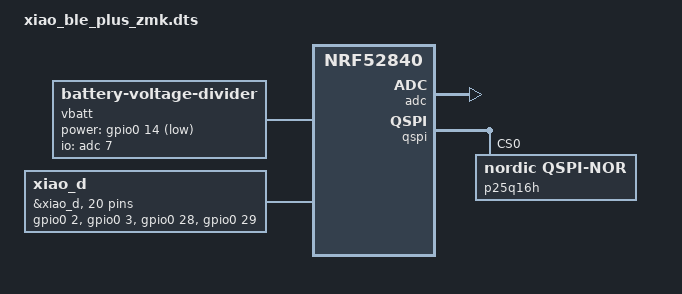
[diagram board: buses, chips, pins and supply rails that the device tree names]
/*
 * Copyright (c) 2026 OpenAI
 *
 * SPDX-License-Identifier: MIT
 */

#include <../boards/seeed/xiao_ble/xiao_ble.dts>
#include <common/nordic/nrf52840_uf2_boot_mode.dtsi>

/* Add an sd_partition label for compatibility with the nosd snippet */
sd_partition: &reserved_partition_0 { };

/ {
    chosen {
        zmk,battery = &vbatt;
    };

    vbatt: vbatt {
        compatible = "zmk,battery-voltage-divider";
        io-channels = <&adc 7>;
        power-gpios = <&gpio0 14 (GPIO_OPEN_DRAIN | GPIO_ACTIVE_LOW)>;
        output-ohms = <510000>;
        full-ohms = <(1000000 + 510000)>;
    };
};

/*
 * XIAO BLE Plus expands the rear castellations beyond the standard XIAO set.
 * Keep the existing D0-D10 mapping and add D11-D19 so shields can refer to
 * the full Plus pin names via &xiao_d.
 */
&xiao_d {
    gpio-map
        = <0 0 &gpio0 2 0>      /* D0  / P0.02 / AIN0 */
        , <1 0 &gpio0 3 0>      /* D1  / P0.03 / AIN1 */
        , <2 0 &gpio0 28 0>     /* D2  / P0.28 / AIN4 */
        , <3 0 &gpio0 29 0>     /* D3  / P0.29 / AIN5 */
        , <4 0 &gpio0 4 0>      /* D4  / P0.04 / AIN2 / SDA */
        , <5 0 &gpio0 5 0>      /* D5  / P0.05 / AIN3 / SCL */
        , <6 0 &gpio1 11 0>     /* D6  / P1.11 */
        , <7 0 &gpio1 12 0>     /* D7  / P1.12 */
        , <8 0 &gpio1 13 0>     /* D8  / P1.13 */
        , <9 0 &gpio1 14 0>     /* D9  / P1.14 */
        , <10 0 &gpio1 15 0>    /* D10 / P1.15 */
        , <11 0 &gpio0 15 0>    /* D11 / P0.15 */
        , <12 0 &gpio0 19 0>    /* D12 / P0.19 */
        , <13 0 &gpio1 1 0>     /* D13 / P1.01 */
        , <14 0 &gpio0 9 0>     /* D14 / P0.09 */
        , <15 0 &gpio0 10 0>    /* D15 / P0.10 */
        , <16 0 &gpio0 31 0>    /* D16 / P0.31 */
        , <17 0 &gpio1 3 0>     /* D17 / P1.03 */
        , <18 0 &gpio1 5 0>     /* D18 / P1.05 */
        , <19 0 &gpio1 7 0>     /* D19 / P1.07 */
        ;
};

&xiao_serial { status = "disabled"; };

&adc {
    status = "okay";
};

&qspi {
    status = "okay";
    pinctrl-0 = <&qspi_default>;
    pinctrl-1 = <&qspi_sleep>;
    pinctrl-names = "default", "sleep";
    p25q16h: p25q16h@0 {
        compatible = "nordic,qspi-nor";
        reg = <0>;
        sck-frequency = <104000000>;
        quad-enable-requirements = "S2B1v1";
        jedec-id = [85 60 15];
        sfdp-bfp = [
            e5 20 f1 ff  ff ff ff 00  44 eb 08 6b  08 3b 80 bb
            ee ff ff ff  ff ff 00 ff  ff ff 00 ff  0c 20 0f 52
            10 d8 08 81
        ];
        size = <16777216>;
        has-dpd;
        t-enter-dpd = <3000>;
        t-exit-dpd = <8000>;
    };
};
